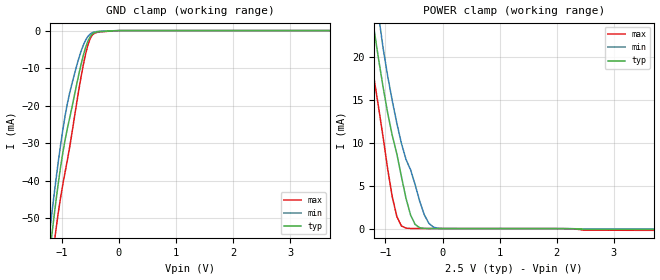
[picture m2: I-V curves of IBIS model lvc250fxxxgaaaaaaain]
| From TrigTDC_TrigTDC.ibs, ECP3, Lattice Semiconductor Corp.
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[Model]   lvc250fxxxgaaaaaaain
Model_type   Input
Polarity   Non-Inverting
Enable   Active-Low
Vinl =   0.700000V
Vinh =   1.700000V
C_comp   2.7pF   2.2pF   3.2pF
[Temperature Range]   25.000000   0.105000k   -40.000000
[Voltage Range]   2.500000V   2.380000V   2.630000V
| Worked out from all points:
|   GND clamp passes 1 mA (typ) near -0.47 V on its own axis
|   POWER clamp passes 1 mA (typ) near -0.51 V on its own axis
[GND_clamp]
|Voltage   I(typ)   I(min)   I(max)
-2.5V     -568.7mA   -547.1mA   -588.5mA
-1.22V    -60.72mA   -54.87mA   -68.44mA
-1.18V    -55.38mA   -49.62mA   -62.99mA
-1.14V    -50.22mA   -44.53mA   -57.79mA
-1.1V     -45.3mA    -39.62mA   -52.93mA
-980mV    -32.49mA   -26.39mA   -40.92mA
-860mV    -23.24mA   -16.57mA   -30.99mA
-620mV    -6.531mA   -3.837mA   -9.018mA
-540mV    -2.752mA   -1.528mA   -3.808mA
-460mV    -848.9uA   -520.9uA   -1.108mA
20mV      0A         0A         0A
5V        0A         0A         0A
[POWER_clamp]
|Voltage   I(typ)   I(min)   I(max)
-2.48V    124.9mA    102.6mA    134.5mA
-1.36V    32.36mA    38.22mA    25.45mA
-1.28V    27.3mA     33.56mA    21.36mA
-1.2V     23.29mA    29.08mA    17.57mA
-1.12V    19.78mA    24.85mA    14.17mA
-880mV    10.9mA     14.92mA    3.763mA
-800mV    8.753mA    12.32mA    1.477mA
-640mV    3.607mA    8.129mA    139.9uA
-480mV    566.4uA    5.193mA    95.99uA
-320mV    108.3uA    1.703mA    95.06uA
-80mV     89.01uA    123.7uA    94.96uA
5V        -10.39uA   -31.66nA   -137.2uA
